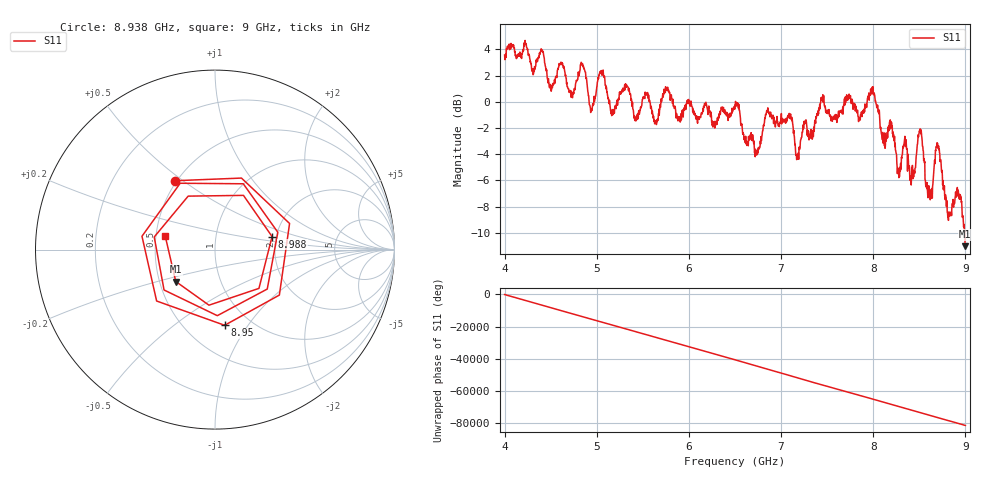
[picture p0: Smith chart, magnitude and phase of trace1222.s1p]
! Created with skrf 1.8.0 (http://scikit-rf.org).
# Hz S RI R 50.0
!freq ReS11 ImS11
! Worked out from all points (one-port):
!   1601 points, 4 GHz to 9 GHz, reference 50 ohm
!   lowest |S11| = -11.0 dB at 8.997 GHz (marker M1), VSWR 1.78, Z = 30.4 - j11.7 ohm
!   |S11| at or under -10 dB: 8.993049 GHz to end of sweep
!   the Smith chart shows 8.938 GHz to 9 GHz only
!   S11 on the Smith chart (normalised r, x): 8.938 GHz: 0.49, +0.47; 8.95 GHz: 0.76, -0.79; 8.988 GHz: 1.90, +0.31; 9 GHz: 0.56, +0.09
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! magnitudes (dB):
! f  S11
! 4 GHz  3.6
! 4.625 GHz  2.8
! 4.725 GHz  0.8
! 4.847 GHz  2.9
! 4.941 GHz  -0.6
! 5.047 GHz  2.3
! 5.25 GHz  0.6
! 5.875 GHz  -1.3
! 6.5 GHz  -0.2
! 6.734 GHz  -3.9
! 6.85 GHz  -0.8
! 7.125 GHz  -1.6
! 7.181 GHz  -4.3
! 7.441 GHz  0.2
! 7.75 GHz  0.3
! 7.991 GHz  1.1
! 8.278 GHz  -5.8
! 8.375 GHz  -4.0
! 8.425 GHz  -4.9
! 8.509 GHz  -2.3
! 8.606 GHz  -7.2
! 8.697 GHz  -3.2
! 8.825 GHz  -8.6
! 8.938 GHz  -7.1
! 8.95 GHz  -7.4
! 8.988 GHz  -9.7
! 8.997 GHz  -11.0
! 9 GHz  -10.8
